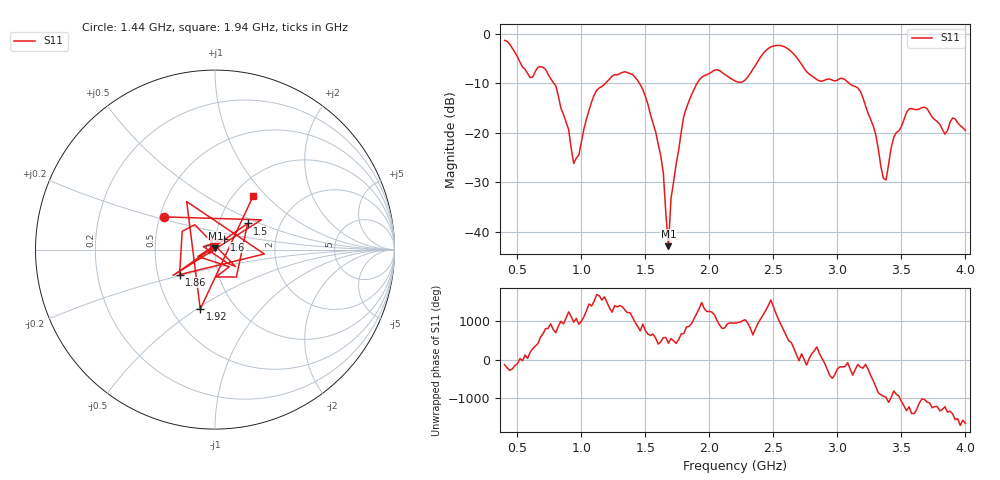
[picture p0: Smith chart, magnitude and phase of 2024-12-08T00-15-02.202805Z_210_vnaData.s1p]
!Created with skrf (http://scikit-rf.org).
# Hz S RI R 50.0
!freq ReS11 ImS11
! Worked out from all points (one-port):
!   181 points, 400 MHz to 4 GHz, reference 50 ohm
!   lowest |S11| = -42.9 dB at 1.68 GHz (marker M1), VSWR 1.01, Z = 50.2 + j0.674 ohm
!   |S11| at or under -10 dB: 786.2 MHz to 1.187 GHz (400.5 MHz wide, 40.6 % of centre); 1.454 GHz to 1.904 GHz (449.6 MHz wide, 26.8 % of centre); 3.094 GHz to end of sweep
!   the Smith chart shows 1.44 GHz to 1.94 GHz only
!   S11 on the Smith chart (normalised r, x): 1.44 GHz: 0.52, +0.22; 1.5 GHz: 1.37, +0.42; 1.6 GHz: 1.10, +0.13; 1.86 GHz: 0.65, -0.19; 1.92 GHz: 0.69, -0.52; 1.94 GHz: 1.22, +0.84
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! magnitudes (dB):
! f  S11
! 400 MHz  -1.3
! 600 MHz  -8.8
! 720 MHz  -7.1
! 860 MHz  -16.3
! 940 MHz  -26.2
! 1.1 GHz  -12.3
! 1.3 GHz  -8.0
! 1.44 GHz  -9.4
! 1.5 GHz  -12.7
! 1.6 GHz  -22.3
! 1.64 GHz  -28.1
! 1.68 GHz  -42.9
! 1.7 GHz  -33.3
! 1.76 GHz  -23.5
! 1.8 GHz  -16.7
! 1.86 GHz  -12.3
! 1.92 GHz  -9.3
! 1.94 GHz  -8.7
! 2.2 GHz  -9.5
! 2.48 GHz  -2.6
! 2.66 GHz  -4.1
! 2.84 GHz  -9.2
! 3.1 GHz  -10.1
! 3.2 GHz  -12.9
! 3.38 GHz  -29.5
! 3.44 GHz  -20.9
! 3.56 GHz  -15.2
! 4 GHz  -19.5
